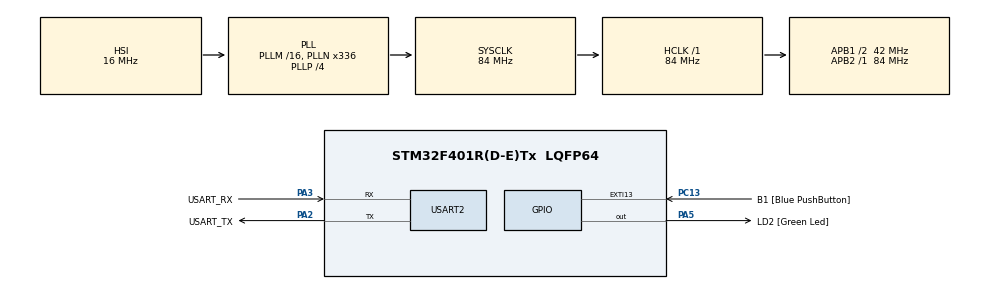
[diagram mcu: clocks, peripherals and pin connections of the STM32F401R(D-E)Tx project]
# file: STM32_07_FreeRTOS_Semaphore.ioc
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FREERTOS.Tasks01=defaultTask,24,128,StartDefaultTask,Default,NULL,Dynamic,NULL,NULL
Mcu.Family=STM32F4
Mcu.Name=STM32F401R(D-E)Tx
Mcu.Package=LQFP64
NVIC.PriorityGroup=NVIC_PRIORITYGROUP_4
PA13.GPIO_Label=TMS
PA13.Mode=Trace_Asynchronous_SW
PA13.Signal=SYS_JTMS-SWDIO
PA14.GPIO_Label=TCK
PA14.Mode=Trace_Asynchronous_SW
PA14.Signal=SYS_JTCK-SWCLK
PA2.GPIO_Label=USART_TX
PA2.GPIO_Mode=GPIO_MODE_AF_PP
PA2.GPIO_PuPd=GPIO_NOPULL
PA2.GPIO_Speed=GPIO_SPEED_FREQ_LOW
PA2.Mode=Asynchronous
PA2.Signal=USART2_TX
PA3.GPIO_Label=USART_RX
PA3.GPIO_Mode=GPIO_MODE_AF_PP
PA3.GPIO_PuPd=GPIO_NOPULL
PA3.GPIO_Speed=GPIO_SPEED_FREQ_LOW
PA3.Mode=Asynchronous
PA3.Signal=USART2_RX
PA5.GPIO_Label=LD2 [Green Led]
PA5.GPIO_Mode=GPIO_MODE_OUTPUT_PP
PA5.GPIO_PuPd=GPIO_NOPULL
PA5.GPIO_Speed=GPIO_SPEED_FREQ_LOW
PA5.Signal=GPIO_Output
PB3.GPIO_Label=SWO
PB3.Mode=Trace_Asynchronous_SW
PB3.Signal=SYS_JTDO-SWO
PC13-ANTI_TAMP.GPIO_Label=B1 [Blue PushButton]
PC13-ANTI_TAMP.GPIO_ModeDefaultEXTI=GPIO_MODE_IT_FALLING
PC13-ANTI_TAMP.GPIO_PuPd=GPIO_NOPULL
PC13-ANTI_TAMP.Signal=GPXTI13
PC14-OSC32_IN.Mode=LSE-External-Oscillator
PC14-OSC32_IN.Signal=RCC_OSC32_IN
PC15-OSC32_OUT.Mode=LSE-External-Oscillator
PC15-OSC32_OUT.Signal=RCC_OSC32_OUT
PH0\ -\ OSC_IN.Mode=HSE-External-Clock-Source
PH0\ -\ OSC_IN.Signal=RCC_OSC_IN
PH1\ -\ OSC_OUT.Mode=HSE-External-Clock-Source
PH1\ -\ OSC_OUT.Signal=RCC_OSC_OUT
ProjectManager.HeapSize=0x200
ProjectManager.StackSize=0x400
ProjectManager.TargetToolchain=STM32CubeIDE
RCC.48MHZClocksFreq_Value=48000000
RCC.AHBFreq_Value=84000000
RCC.APB1CLKDivider=RCC_HCLK_DIV2
RCC.APB1Freq_Value=42000000
RCC.APB1TimFreq_Value=84000000
RCC.APB2Freq_Value=84000000
RCC.APB2TimFreq_Value=84000000
RCC.CortexFreq_Value=84000000
RCC.HCLKFreq_Value=84000000
RCC.HSE_VALUE=8000000
RCC.HSI_VALUE=16000000
RCC.PLLN=336
RCC.PLLP=RCC_PLLP_DIV4
RCC.PLLQ=7
RCC.SYSCLKFreq_VALUE=84000000
RCC.SYSCLKSource=RCC_SYSCLKSOURCE_PLLCLK
RCC.VCOOutputFreq_Value=336000000
USART2.VirtualMode=VM_ASYNC
VP_FREERTOS_VS_CMSIS_V2.Mode=CMSIS_V2
board=NUCLEO-F401RE

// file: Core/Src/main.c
/* USER CODE BEGIN Header */
/**
  ******************************************************************************
  * @file           : main.c
  * @brief          : Main program body
  ******************************************************************************
  * @attention
  *
  * Copyright (c) 2025 STMicroelectronics.
  * All rights reserved.
  *
  * This software is licensed under terms that can be found in the LICENSE file
  * in the root directory of this software component.
  * If no LICENSE file comes with this software, it is provided AS-IS.
  *
  ******************************************************************************
  */
/* USER CODE END Header */

/* main.c - 세마포어 */

#include "main.h"
#include "cmsis_os.h"

/* USER CODE BEGIN Includes */
#include <stdio.h>
#include <string.h>
/* USER CODE END Includes */

/* USER CODE BEGIN PD */
#define MAX_CONCURRENT_TASKS 2 // 동시에 실행될 수 있는 최대 작업 수 (주차장 칸 수)
/* USER CODE END PD */

UART_HandleTypeDef huart2;
osThreadId_t defaultTaskHandle;
osSemaphoreId_t processingSemaphoreHandle; // 세마포어 핸들
osMutexId_t uartMutexHandle; // UART 출력을 보호할 뮤텍스 핸들

void SystemClock_Config(void);
static void MX_GPIO_Init(void);
static void MX_USART2_UART_Init(void);
void StartDefaultTask(void *argument);
void WorkerTask(void *argument); // 5명의 직원이 모두 사용할 공통 작업 함수

/* USER CODE BEGIN 0 */

// 뮤텍스를 사용하여 안전하게 메시지를 출력하는 헬퍼 함수
void safe_print(const char *msg)
{
    if (osMutexAcquire(uartMutexHandle, osWaitForever) == osOK)
    {
        HAL_UART_Transmit(&huart2, (uint8_t *)msg, strlen(msg), 100);
        osMutexRelease(uartMutexHandle);
    }
}

// 5명의 직원(Task)이 모두 실행할 공통 함수
void WorkerTask(void *argument)
{
  // 각 Task는 고유한 ID(숫자)를 가집니다.
  uint32_t taskId = (uint32_t)argument;
  char msg_buffer[100];

  for(;;)
  {
    sprintf(msg_buffer, "Worker %lu: Waiting for a processing slot...\r\n", taskId);
    safe_print(msg_buffer);

    // 1. 세마포어를 획득하려고 시도 (주차장에 들어가려고 함)
    osSemaphoreAcquire(processingSemaphoreHandle, osWaitForever);

    // 2. 세마포어를 획득하면, 작업을 시작
    sprintf(msg_buffer, ">>>> Worker %lu: GOT A SLOT! Starting work for 3 seconds...\r\n", taskId);
    safe_print(msg_buffer);

    osDelay(3000); // 3초 동안 작업을 하는 것을 흉내

    sprintf(msg_buffer, "<<<< Worker %lu: FINISHED work. Releasing slot.\r\n", taskId);
    safe_print(msg_buffer);

    // 3. 작업이 끝나면 세마포어를 반납 (주차장에서 나옴)
    osSemaphoreRelease(processingSemaphoreHandle);

    osDelay(1000); // 다음 주기를 위해 잠시 대기
  }
}
/* USER CODE END 0 */

int main(void)
{
  /* MCU Configuration--------------------------------------------------------*/
  HAL_Init();
  SystemClock_Config();
  MX_GPIO_Init();
  MX_USART2_UART_Init();

  /* Init scheduler */
  osKernelInitialize();

  /* Create the mutex(es) */
  const osMutexAttr_t UartMutex_attributes = { .name = "uartMutex" };
  uartMutexHandle = osMutexNew(&UartMutex_attributes);

  /* Create the semaphores(s) */
  // [핵심] 세마포어 생성
  // 최대 2개의 자원, 현재 2개의 자원이 사용 가능함을 의미
  processingSemaphoreHandle = osSemaphoreNew(MAX_CONCURRENT_TASKS, MAX_CONCURRENT_TASKS, NULL);

  /* Create the thread(s) */
  /* creation of defaultTask */
  const osThreadAttr_t defaultTask_attributes = {
    .name = "defaultTask",
    .stack_size = 128 * 4,
    .priority = (osPriority_t) osPriorityNormal,
  };
  defaultTaskHandle = osThreadNew(StartDefaultTask, NULL, &defaultTask_attributes);

  // 5명의 직원(Task)을 생성
  for (uint32_t i = 1; i <= 5; i++) {
      const osThreadAttr_t workerTask_attributes = {
        .name = "WorkerTask",
        .stack_size = 256 * 4,
        .priority = (osPriority_t) osPriorityNormal,
      };
      osThreadNew(WorkerTask, (void *)i, &workerTask_attributes);
  }

  /* Start scheduler */
  osKernelStart();

  while (1)
  {
  }
}

void SystemClock_Config(void)
{
  RCC_OscInitTypeDef RCC_OscInitStruct = {0};
  RCC_ClkInitTypeDef RCC_ClkInitStruct = {0};

  /** Configure the main internal regulator output voltage
  */
  __HAL_RCC_PWR_CLK_ENABLE();
  __HAL_PWR_VOLTAGESCALING_CONFIG(PWR_REGULATOR_VOLTAGE_SCALE2);

  /** Initializes the RCC Oscillators according to the specified parameters
  * in the RCC_OscInitTypeDef structure.
  */
  RCC_OscInitStruct.OscillatorType = RCC_OSCILLATORTYPE_HSI;
  RCC_OscInitStruct.HSIState = RCC_HSI_ON;
  RCC_OscInitStruct.HSICalibrationValue = RCC_HSICALIBRATION_DEFAULT;
  RCC_OscInitStruct.PLL.PLLState = RCC_PLL_ON;
  RCC_OscInitStruct.PLL.PLLSource = RCC_PLLSOURCE_HSI;
  RCC_OscInitStruct.PLL.PLLM = 16;
  RCC_OscInitStruct.PLL.PLLN = 336;
  RCC_OscInitStruct.PLL.PLLP = RCC_PLLP_DIV4;
  RCC_OscInitStruct.PLL.PLLQ = 7;
  if (HAL_RCC_OscConfig(&RCC_OscInitStruct) != HAL_OK)
  {
    Error_Handler();
  }

  /** Initializes the CPU, AHB and APB buses clocks
  */
  RCC_ClkInitStruct.ClockType = RCC_CLOCKTYPE_HCLK|RCC_CLOCKTYPE_SYSCLK
                              |RCC_CLOCKTYPE_PCLK1|RCC_CLOCKTYPE_PCLK2;
  RCC_ClkInitStruct.SYSCLKSource = RCC_SYSCLKSOURCE_PLLCLK;
  RCC_ClkInitStruct.AHBCLKDivider = RCC_SYSCLK_DIV1;
  RCC_ClkInitStruct.APB1CLKDivider = RCC_HCLK_DIV2;
  RCC_ClkInitStruct.APB2CLKDivider = RCC_HCLK_DIV1;

  if (HAL_RCC_ClockConfig(&RCC_ClkInitStruct, FLASH_LATENCY_2) != HAL_OK)
  {
    Error_Handler();
  }
}

static void MX_USART2_UART_Init(void)
{

  huart2.Instance = USART2;
  huart2.Init.BaudRate = 115200;
  huart2.Init.WordLength = UART_WORDLENGTH_8B;
  huart2.Init.StopBits = UART_STOPBITS_1;
  huart2.Init.Parity = UART_PARITY_NONE;
  huart2.Init.Mode = UART_MODE_TX_RX;
  huart2.Init.HwFlowCtl = UART_HWCONTROL_NONE;
  huart2.Init.OverSampling = UART_OVERSAMPLING_16;
  if (HAL_UART_Init(&huart2) != HAL_OK)
  {
    Error_Handler();
  }

}

static void MX_GPIO_Init(void)
{
  GPIO_InitTypeDef GPIO_InitStruct = {0};

  /* GPIO Ports Clock Enable */
  __HAL_RCC_GPIOC_CLK_ENABLE();
  __HAL_RCC_GPIOH_CLK_ENABLE();
  __HAL_RCC_GPIOA_CLK_ENABLE();
  __HAL_RCC_GPIOB_CLK_ENABLE();

  /*Configure GPIO pin Output Level */
  HAL_GPIO_WritePin(LD2_GPIO_Port, LD2_Pin, GPIO_PIN_RESET);

  /*Configure GPIO pin : B1_Pin */
  GPIO_InitStruct.Pin = B1_Pin;
  GPIO_InitStruct.Mode = GPIO_MODE_IT_FALLING;
  GPIO_InitStruct.Pull = GPIO_NOPULL;
  HAL_GPIO_Init(B1_GPIO_Port, &GPIO_InitStruct);

  /*Configure GPIO pin : LD2_Pin */
  GPIO_InitStruct.Pin = LD2_Pin;
  GPIO_InitStruct.Mode = GPIO_MODE_OUTPUT_PP;
  GPIO_InitStruct.Pull = GPIO_NOPULL;
  GPIO_InitStruct.Speed = GPIO_SPEED_FREQ_LOW;
  HAL_GPIO_Init(LD2_GPIO_Port, &GPIO_InitStruct);

}

void StartDefaultTask(void *argument)
{
  for(;;)
  {
    osDelay(1);
  }
}

void Error_Handler(void)
{
  __disable_irq();
  while (1)
  {
  }
}
